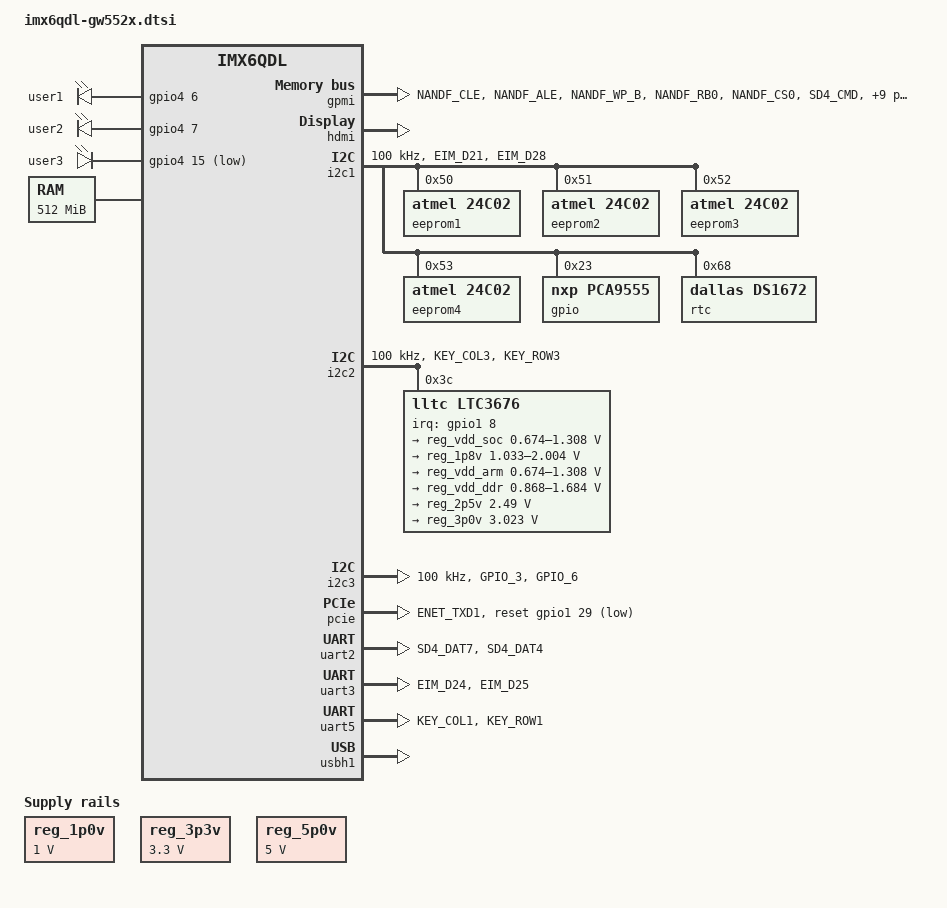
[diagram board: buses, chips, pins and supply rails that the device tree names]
/*
 * Copyright 2014 Gateworks Corporation
 *
 * The code contained herein is licensed under the GNU General Public
 * License. You may obtain a copy of the GNU General Public License
 * Version 2 or later at the following locations:
 *
 * http://www.opensource.org/licenses/gpl-license.html
 * http://www.gnu.org/copyleft/gpl.html
 */

#include <dt-bindings/gpio/gpio.h>

/ {
	/* these are used by bootloader for disabling nodes */
	aliases {
		led0 = &led0;
		led1 = &led1;
		led2 = &led2;
		nand = &gpmi;
		usb0 = &usbh1;
		usb1 = &usbotg;
	};

	chosen {
		bootargs = "console=ttymxc1,115200";
	};

	leds {
		compatible = "gpio-leds";
		pinctrl-names = "default";
		pinctrl-0 = <&pinctrl_gpio_leds>;

		led0: user1 {
			label = "user1";
			gpios = <&gpio4 6 GPIO_ACTIVE_HIGH>; /* MX6_PANLEDG */
			default-state = "on";
			linux,default-trigger = "heartbeat";
		};

		led1: user2 {
			label = "user2";
			gpios = <&gpio4 7 GPIO_ACTIVE_HIGH>; /* MX6_PANLEDR */
			default-state = "off";
		};

		led2: user3 {
			label = "user3";
			gpios = <&gpio4 15 GPIO_ACTIVE_LOW>; /* MX6_LOCLED# */
			default-state = "off";
		};
	};

	memory@10000000 {
		reg = <0x10000000 0x20000000>;
	};

	reg_1p0v: regulator-1p0v {
		compatible = "regulator-fixed";
		regulator-name = "1P0V";
		regulator-min-microvolt = <1000000>;
		regulator-max-microvolt = <1000000>;
		regulator-always-on;
	};

	reg_3p3v: regulator-3p3v {
		compatible = "regulator-fixed";
		regulator-name = "3P3V";
		regulator-min-microvolt = <3300000>;
		regulator-max-microvolt = <3300000>;
		regulator-always-on;
	};

	reg_5p0v: regulator-5p0v {
		compatible = "regulator-fixed";
		regulator-name = "5P0V";
		regulator-min-microvolt = <5000000>;
		regulator-max-microvolt = <5000000>;
		regulator-always-on;
	};
};

&gpmi {
	pinctrl-names = "default";
	pinctrl-0 = <&pinctrl_gpmi_nand>;
	status = "okay";
};

&hdmi {
	ddc-i2c-bus = <&i2c3>;
	status = "okay";
};

&i2c1 {
	clock-frequency = <100000>;
	pinctrl-names = "default";
	pinctrl-0 = <&pinctrl_i2c1>;
	status = "okay";

	eeprom1: eeprom@50 {
		compatible = "atmel,24c02";
		reg = <0x50>;
		pagesize = <16>;
	};

	eeprom2: eeprom@51 {
		compatible = "atmel,24c02";
		reg = <0x51>;
		pagesize = <16>;
	};

	eeprom3: eeprom@52 {
		compatible = "atmel,24c02";
		reg = <0x52>;
		pagesize = <16>;
	};

	eeprom4: eeprom@53 {
		compatible = "atmel,24c02";
		reg = <0x53>;
		pagesize = <16>;
	};

	gpio: pca9555@23 {
		compatible = "nxp,pca9555";
		reg = <0x23>;
		gpio-controller;
		#gpio-cells = <2>;
	};

	rtc: ds1672@68 {
		compatible = "dallas,ds1672";
		reg = <0x68>;
	};
};

&i2c2 {
	clock-frequency = <100000>;
	pinctrl-names = "default";
	pinctrl-0 = <&pinctrl_i2c2>;
	status = "okay";

	ltc3676: pmic@3c {
		compatible = "lltc,ltc3676";
		reg = <0x3c>;
		pinctrl-names = "default";
		pinctrl-0 = <&pinctrl_pmic>;
		interrupt-parent = <&gpio1>;
		interrupts = <8 IRQ_TYPE_EDGE_FALLING>;

		regulators {
			/* VDD_SOC (1+R1/R2 = 1.635) */
			reg_vdd_soc: sw1 {
				regulator-name = "vddsoc";
				regulator-min-microvolt = <674400>;
				regulator-max-microvolt = <1308000>;
				lltc,fb-voltage-divider = <127000 200000>;
				regulator-ramp-delay = <7000>;
				regulator-boot-on;
				regulator-always-on;
			};

			/* VDD_1P8 (1+R1/R2 = 2.505): ENET-PHY */
			reg_1p8v: sw2 {
				regulator-name = "vdd1p8";
				regulator-min-microvolt = <1033310>;
				regulator-max-microvolt = <2004000>;
				lltc,fb-voltage-divider = <301000 200000>;
				regulator-ramp-delay = <7000>;
				regulator-boot-on;
				regulator-always-on;
			};

			/* VDD_ARM (1+R1/R2 = 1.635) */
			reg_vdd_arm: sw3 {
				regulator-name = "vddarm";
				regulator-min-microvolt = <674400>;
				regulator-max-microvolt = <1308000>;
				lltc,fb-voltage-divider = <127000 200000>;
				regulator-ramp-delay = <7000>;
				regulator-boot-on;
				regulator-always-on;
			};

			/* VDD_DDR (1+R1/R2 = 2.105) */
			reg_vdd_ddr: sw4 {
				regulator-name = "vddddr";
				regulator-min-microvolt = <868310>;
				regulator-max-microvolt = <1684000>;
				lltc,fb-voltage-divider = <221000 200000>;
				regulator-ramp-delay = <7000>;
				regulator-boot-on;
				regulator-always-on;
			};

			/* VDD_2P5 (1+R1/R2 = 3.435): PCIe/ENET-PHY */
			reg_2p5v: ldo2 {
				regulator-name = "vdd2p5";
				regulator-min-microvolt = <2490375>;
				regulator-max-microvolt = <2490375>;
				lltc,fb-voltage-divider = <487000 200000>;
				regulator-boot-on;
				regulator-always-on;
			};

			/* VDD_HIGH (1+R1/R2 = 4.17) */
			reg_3p0v: ldo4 {
				regulator-name = "vdd3p0";
				regulator-min-microvolt = <3023250>;
				regulator-max-microvolt = <3023250>;
				lltc,fb-voltage-divider = <634000 200000>;
				regulator-boot-on;
				regulator-always-on;
			};
		};
	};
};

&i2c3 {
	clock-frequency = <100000>;
	pinctrl-names = "default";
	pinctrl-0 = <&pinctrl_i2c3>;
	status = "okay";
};

&pcie {
	pinctrl-names = "default";
	pinctrl-0 = <&pinctrl_pcie>;
	reset-gpio = <&gpio1 29 GPIO_ACTIVE_LOW>;
	status = "okay";
};

&pwm2 {
	pinctrl-names = "default";
	pinctrl-0 = <&pinctrl_pwm2>; /* MX6_DIO1 */
	status = "disabled";
};

&pwm3 {
	pinctrl-names = "default";
	pinctrl-0 = <&pinctrl_pwm3>; /* MX6_DIO2 */
	status = "disabled";
};

&uart2 {
	pinctrl-names = "default";
	pinctrl-0 = <&pinctrl_uart2>;
	status = "okay";
};

&uart3 {
	pinctrl-names = "default";
	pinctrl-0 = <&pinctrl_uart3>;
	status = "okay";
};

&uart5 {
	pinctrl-names = "default";
	pinctrl-0 = <&pinctrl_uart5>;
	status = "okay"; };

&usbh1 {
	status = "okay";
};

&wdog1 {
	pinctrl-names = "default";
	pinctrl-0 = <&pinctrl_wdog>;
	fsl,ext-reset-output;
};

&iomuxc {
	pinctrl_gpio_leds: gpioledsgrp {
		fsl,pins = <
			MX6QDL_PAD_KEY_COL0__GPIO4_IO06		0x1b0b0
			MX6QDL_PAD_KEY_ROW0__GPIO4_IO07		0x1b0b0
			MX6QDL_PAD_KEY_ROW4__GPIO4_IO15		0x1b0b0
		>;
	};

	pinctrl_gpmi_nand: gpminandgrp {
		fsl,pins = <
			MX6QDL_PAD_NANDF_CLE__NAND_CLE		0xb0b1
			MX6QDL_PAD_NANDF_ALE__NAND_ALE		0xb0b1
			MX6QDL_PAD_NANDF_WP_B__NAND_WP_B	0xb0b1
			MX6QDL_PAD_NANDF_RB0__NAND_READY_B	0xb000
			MX6QDL_PAD_NANDF_CS0__NAND_CE0_B	0xb0b1
			MX6QDL_PAD_SD4_CMD__NAND_RE_B		0xb0b1
			MX6QDL_PAD_SD4_CLK__NAND_WE_B		0xb0b1
			MX6QDL_PAD_NANDF_D0__NAND_DATA00	0xb0b1
			MX6QDL_PAD_NANDF_D1__NAND_DATA01	0xb0b1
			MX6QDL_PAD_NANDF_D2__NAND_DATA02	0xb0b1
			MX6QDL_PAD_NANDF_D3__NAND_DATA03	0xb0b1
			MX6QDL_PAD_NANDF_D4__NAND_DATA04	0xb0b1
			MX6QDL_PAD_NANDF_D5__NAND_DATA05	0xb0b1
			MX6QDL_PAD_NANDF_D6__NAND_DATA06	0xb0b1
			MX6QDL_PAD_NANDF_D7__NAND_DATA07	0xb0b1
		>;
	};

	pinctrl_i2c1: i2c1grp {
		fsl,pins = <
			MX6QDL_PAD_EIM_D21__I2C1_SCL		0x4001b8b1
			MX6QDL_PAD_EIM_D28__I2C1_SDA		0x4001b8b1
		>;
	};

	pinctrl_i2c2: i2c2grp {
		fsl,pins = <
			MX6QDL_PAD_KEY_COL3__I2C2_SCL		0x4001b8b1
			MX6QDL_PAD_KEY_ROW3__I2C2_SDA		0x4001b8b1
		>;
	};

	pinctrl_i2c3: i2c3grp {
		fsl,pins = <
			MX6QDL_PAD_GPIO_3__I2C3_SCL		0x4001b8b1
			MX6QDL_PAD_GPIO_6__I2C3_SDA		0x4001b8b1
		>;
	};

	pinctrl_pcie: pciegrp {
		fsl,pins = <
			MX6QDL_PAD_ENET_TXD1__GPIO1_IO29	0x1b0b0
		>;
	};

	pinctrl_pmic: pmicgrp {
		fsl,pins = <
			MX6QDL_PAD_GPIO_8__GPIO1_IO08		0x0001b0b0 /* PMIC_IRQ# */
		>;
	};

	pinctrl_pwm2: pwm2grp {
		fsl,pins = <
			MX6QDL_PAD_SD1_DAT2__PWM2_OUT		0x1b0b1
		>;
	};

	pinctrl_pwm3: pwm3grp {
		fsl,pins = <
			MX6QDL_PAD_SD1_DAT1__PWM3_OUT		0x1b0b1
		>;
	};

	pinctrl_uart2: uart2grp {
		fsl,pins = <
			MX6QDL_PAD_SD4_DAT7__UART2_TX_DATA	0x1b0b1
			MX6QDL_PAD_SD4_DAT4__UART2_RX_DATA	0x1b0b1
		>;
	};

	pinctrl_uart3: uart3grp {
		fsl,pins = <
			MX6QDL_PAD_EIM_D24__UART3_TX_DATA	0x1b0b1
			MX6QDL_PAD_EIM_D25__UART3_RX_DATA	0x1b0b1
		>;
	};

	pinctrl_uart5: uart5grp {
		fsl,pins = <
			MX6QDL_PAD_KEY_COL1__UART5_TX_DATA	0x1b0b1
			MX6QDL_PAD_KEY_ROW1__UART5_RX_DATA	0x1b0b1
		>;
	};

	pinctrl_wdog: wdoggrp {
		fsl,pins = <
			MX6QDL_PAD_DISP0_DAT8__WDOG1_B		0x1b0b0
		>;
	};
};
